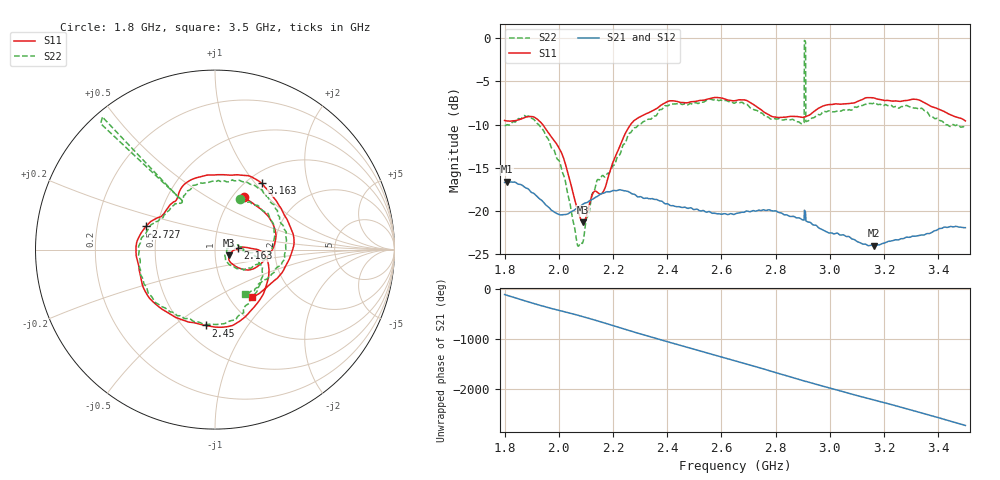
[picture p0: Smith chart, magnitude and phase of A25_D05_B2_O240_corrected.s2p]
! Created with skrf 1.9.0 (http://scikit-rf.org).
# Hz S RI R 50.0
!freq ReS11 ImS11 ReS21 ImS21 ReS12 ImS12 ReS22 ImS22
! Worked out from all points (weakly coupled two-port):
!   1601 points, 1.8 GHz to 3.5 GHz, reference 50 ohm
!   highest |S21| = -16.59 dB at 1.808 GHz (marker M1); lowest = -24.0 dB at 3.163 GHz (marker M2)
!   lowest |S11| = -21.3 dB at 2.09 GHz (marker M3), VSWR 1.19, Z = 58.6 - j3.81 ohm
!   |S11| at or under -10 dB: 1.941 GHz to 2.264 GHz (323.3 MHz wide, 15.4 % of centre)
!   |S22| runs from -24.1 to -0.3 dB; largest |S21 - S12| = 0.0027
!   S11 on the Smith chart (normalised r, x): 1.8 GHz: 1.13, +0.74; 2.163 GHz: 1.30, +0.02; 2.45 GHz: 0.64, -0.66; 2.727 GHz: 0.43, +0.13; 3.163 GHz: 1.17, +1.08; 3.5 GHz: 1.27, -0.75
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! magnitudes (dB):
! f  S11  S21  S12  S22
! 1.8 GHz  -9.5  -16.7  -16.7  -10.1
! 1.808 GHz  -9.6  -16.6  -16.6  -10.0
! 1.941 GHz  -10.0  -18.9  -18.9  -10.6
! 2.013 GHz  -13.4  -20.4  -20.4  -15.4
! 2.067 GHz  -19.6  -19.6  -19.6  -23.6
! 2.084 GHz  -21.1  -19.3  -19.3  -23.7
! 2.09 GHz  -21.3  -19.2  -19.2  -23.4
! 2.127 GHz  -17.9  -18.6  -18.6  -17.8
! 2.163 GHz  -17.8  -17.9  -17.9  -15.9
! 2.26 GHz  -10.2  -17.8  -17.8  -11.0
! 2.367 GHz  -8.0  -18.7  -18.7  -8.5
! 2.45 GHz  -7.4  -19.5  -19.5  -7.6
! 2.65 GHz  -7.2  -20.3  -20.3  -7.5
! 2.727 GHz  -7.8  -20.0  -20.0  -8.3
! 2.897 GHz  -9.1  -21.0  -21.0  -9.9
! 2.902 GHz  -9.1  -21.0  -21.0  -9.8
! 2.915 GHz  -9.0  -21.2  -21.2  -9.6
! 2.92 GHz  -9.0  -21.3  -21.2  -9.6
! 2.934 GHz  -8.7  -21.5  -21.5  -9.2
! 3.163 GHz  -6.9  -24.0  -24.0  -7.5
! 3.217 GHz  -7.2  -23.5  -23.5  -7.8
! 3.5 GHz  -9.6  -21.9  -21.9  -10.4
